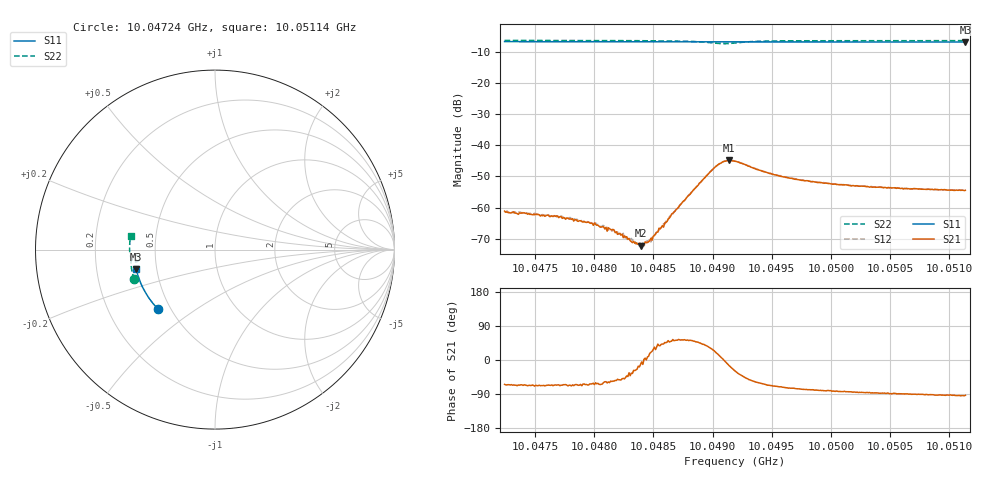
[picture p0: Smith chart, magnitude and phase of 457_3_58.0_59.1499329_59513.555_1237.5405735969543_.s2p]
#  HZ  S  RI  R  50.00
! Rohde & Schwarz Vector Network Analyzer
! Rohde-Schwarz,ZNB20-2Port,1311601062101988,3.16
! Created: UTC 3/21/2024, 1:10:49 AM
! freq[Hz]  re:S11  im:S11  re:S21  im:S21  re:S12  im:S12  re:S22  im:S22
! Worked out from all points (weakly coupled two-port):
!   401 points, 10.04724 GHz to 10.05114 GHz, reference 50 ohm
!   highest |S21| = -44.88 dB at 10.04914 GHz (marker M1); lowest = -72.2 dB at 10.04839 GHz (marker M2)
!   lowest |S11| = -6.9 dB at 10.05114 GHz (marker M3), VSWR 2.65, Z = 19.1 - j5.33 ohm
!   |S11| at or under -10 dB: nowhere
!   |S22| runs from -7.4 to -6.4 dB; largest |S21 - S12| = 0.0004
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1.0047244e10  -0.3168 -0.3319  0.00038 -0.000793  0.000392 -0.000767  -0.4499 -0.1656
1.0047672e10  -0.336 -0.3111  0.0003 -0.000664  0.000324 -0.00066  -0.4584 -0.1376
1.0047895e10  -0.3455 -0.2999  0.000225 -0.000557  0.000275 -0.000531  -0.4619 -0.1223
1.0048022e10  -0.3508 -0.2934  0.000239 -0.000466  0.000284 -0.000449  -0.4638 -0.1134
1.0048148e10  -0.3559 -0.2869  0.00024 -0.000365  0.000241 -0.000345  -0.4655 -0.1042
1.0048226e10  -0.3591 -0.2828  0.000218 -0.000289  0.000252 -0.000279  -0.4663 -0.0985
1.0048275e10  -0.3609 -0.2801  0.000254 -0.000229  0.000236 -0.000209  -0.4668 -0.0948
1.0048324e10  -0.3626 -0.2775  0.000223 -0.000159  0.00026 -0.000144  -0.4673 -0.0911
1.0048362e10  -0.3642 -0.2755  0.000239 -0.000107  0.000267 -5.91e-05  -0.4675 -0.0881
1.0048392e10  -0.3654 -0.2739  0.00024 -5.08e-05  0.000267 -4.5e-05  -0.4676 -0.0856
1.004844e10  -0.3671 -0.2712  0.000274 1.42e-06  0.000286 4.54e-05  -0.4678 -0.0817
1.0048469e10  -0.3683 -0.2696  0.000281 8.95e-05  0.000283 0.000108  -0.4679 -0.0793
1.0048547e10  -0.371 -0.2654  0.000368 0.000287  0.000316 0.0003  -0.4679 -0.0724
1.00488e10  -0.3802 -0.2513  0.000985 0.00123  0.000924 0.00132  -0.4623 -0.0477
1.0048995e10  -0.3865 -0.2403  0.00351 0.00192  0.00339 0.00209  -0.4382 -0.0324
1.0049073e10  -0.3889 -0.2359  0.00517 0.000601  0.00519 0.000976  -0.4241 -0.0418
1.0049141e10  -0.3908 -0.2324  0.0055 -0.00149  0.00565 -0.00111  -0.424 -0.0582
1.0049189e10  -0.3925 -0.2296  0.00487 -0.00269  0.00507 -0.0024  -0.4321 -0.066
1.0049501e10  -0.4024 -0.2116  0.00132 -0.0032  0.00151 -0.00314  -0.4682 -0.0456
1.0049841e10  -0.4118 -0.1914  0.000524 -0.00255  0.000665 -0.00254  -0.4749 -0.016
1.0050493e10  -0.4271 -0.1514  3.97e-05 -0.00209  0.000204 -0.00206  -0.4753 0.0318
1.0051135e10  -0.4382 -0.1108  -0.000109 -0.00189  -2.43e-05 -0.00191  -0.4702 0.0752
